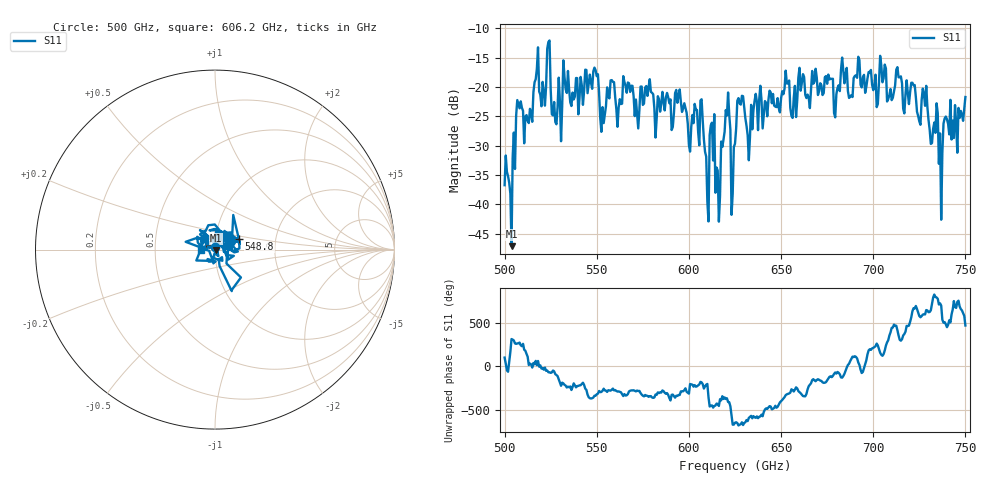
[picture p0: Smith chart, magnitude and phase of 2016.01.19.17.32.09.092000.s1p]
!Created with skrf (http://scikit-rf.org).
# GHz S RI R 50.0
!freq ReS11 ImS11
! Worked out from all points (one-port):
!   401 points, 500 GHz to 750 GHz, reference 50 ohm
!   lowest |S11| = -47.1 dB at 503.8 GHz (marker M1), VSWR 1.01, Z = 50.3 - j0.322 ohm
!   |S11| at or under -10 dB: start of sweep to end of sweep
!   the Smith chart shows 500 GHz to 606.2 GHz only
!   S11 on the Smith chart (normalised r, x): 500 GHz: 0.99, +0.03; 548.8 GHz: 1.30, +0.15; 606.2 GHz: 0.86, -0.01
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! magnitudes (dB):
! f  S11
! 500 GHz  -36.7
! 503.8 GHz  -47.1
! 507.5 GHz  -22.9
! 513.8 GHz  -23.7
! 516.9 GHz  -18.7
! 531.2 GHz  -23.0
! 548.8 GHz  -16.7
! 553.1 GHz  -23.4
! 558.1 GHz  -18.8
! 562.5 GHz  -22.1
! 593.8 GHz  -22.7
! 606.2 GHz  -22.3
! 609.4 GHz  -31.8
! 612.5 GHz  -26.1
! 615.6 GHz  -34.2
! 620.6 GHz  -24.8
! 623.8 GHz  -38.2
! 625 GHz  -29.6
! 628.1 GHz  -23.0
! 631.9 GHz  -28.2
! 653.1 GHz  -19.4
! 656.2 GHz  -25.3
! 687.5 GHz  -21.7
! 718.8 GHz  -21.0
! 728.1 GHz  -23.2
! 736.9 GHz  -42.6
! 739.4 GHz  -25.0
! 750 GHz  -21.7
